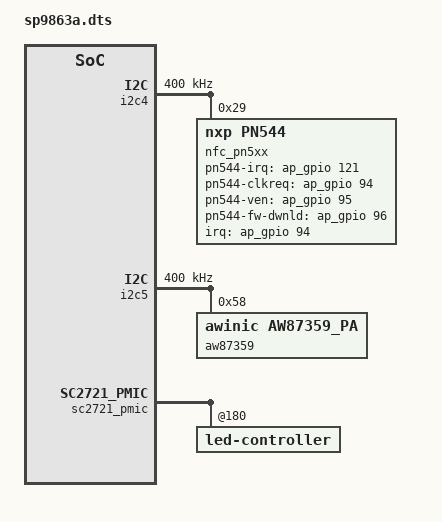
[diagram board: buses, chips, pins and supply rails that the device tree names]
/*****************************************
Do not modify dts file, please modify according dtsi file
******************************************/
#include "../sp9863a.dts"
#include "sprd_base_diff.dtsi"

&i2c4 {
	clock-frequency = <400000>;

	/delete-node/ charger@6a;
};

&i2c4 {
	nfc_pn5xx: pn544@29 {
		compatible = "nxp,pn544";
		reg = <0x29>;
		interrupt-parent = <&ap_gpio>;
		interrupts = <94 0>;
		nxp,pn544-irq = <&ap_gpio 121 0>;
		nxp,pn544-clkreq = <&ap_gpio 94 0>;
		nxp,pn544-ven = <&ap_gpio 95 0>;
		nxp,pn544-fw-dwnld = <&ap_gpio 96 0>;
		interrupt-names = "nfc_int";
		clock-names = "bb_clk","source","enable";
		clocks =<&aon_clk CLK_AUX1>,<&ext_26m>,<&aonapb_gate CLK_AUX1_EB>;
	};
};

&usb {
	sprd,cable-detection-method = "typec";
	extcon = <&extcon_gpio>, <&pmic_typec>;
};

&i2c5 {
	status = "okay";
	clock-frequency = <400000>;
	aw87359@58 {
		compatible = "awinic,aw87359_pa";
		reg = <0x58>;
	};
};


&sc2721_pmic {
	led-controller@180 {
		rgb_v_current = <0x01>;  /*led current is 0.84 mA + 1.69*rgb_v_current */
	};
};
